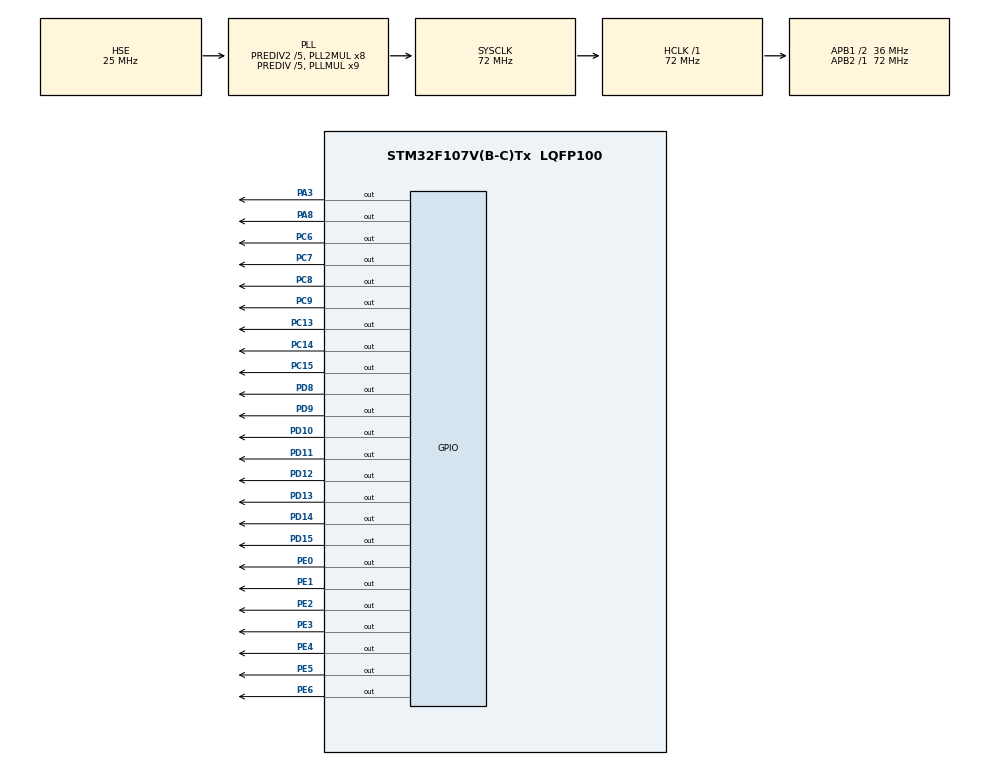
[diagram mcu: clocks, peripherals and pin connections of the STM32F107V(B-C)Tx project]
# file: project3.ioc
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Mcu.Family=STM32F1
Mcu.Name=STM32F107V(B-C)Tx
Mcu.Package=LQFP100
NVIC.PriorityGroup=NVIC_PRIORITYGROUP_4
NVIC.TIM3_IRQn=true\:0\:0\:false\:false\:true\:true\:true\:true
OSC_IN.Mode=HSE-External-Oscillator
OSC_IN.Signal=RCC_OSC_IN
OSC_OUT.Mode=HSE-External-Oscillator
OSC_OUT.Signal=RCC_OSC_OUT
PA13.Mode=Serial_Wire
PA13.Signal=SYS_JTMS-SWDIO
PA14.Mode=Serial_Wire
PA14.Signal=SYS_JTCK-SWCLK
PA3.Signal=GPIO_Output
PA8.Signal=GPIO_Output
PC13-TAMPER-RTC.Signal=GPIO_Output
PC14-OSC32_IN.Signal=GPIO_Output
PC15-OSC32_OUT.Signal=GPIO_Output
PC6.Signal=GPIO_Output
PC7.Signal=GPIO_Output
PC8.Signal=GPIO_Output
PC9.Signal=GPIO_Output
PD10.Signal=GPIO_Output
PD11.Signal=GPIO_Output
PD12.Signal=GPIO_Output
PD13.Signal=GPIO_Output
PD14.Signal=GPIO_Output
PD15.Signal=GPIO_Output
PD8.Signal=GPIO_Output
PD9.Signal=GPIO_Output
PE0.Signal=GPIO_Output
PE1.Signal=GPIO_Output
PE2.Signal=GPIO_Output
PE3.Signal=GPIO_Output
PE4.Signal=GPIO_Output
PE5.Signal=GPIO_Output
PE6.Signal=GPIO_Output
ProjectManager.HeapSize=0x200
ProjectManager.StackSize=0x400
ProjectManager.TargetToolchain=TrueSTUDIO
RCC.AHBFreq_Value=72000000
RCC.APB1CLKDivider=RCC_HCLK_DIV2
RCC.APB1Freq_Value=36000000
RCC.APB1TimFreq_Value=72000000
RCC.APB2Freq_Value=72000000
RCC.APB2TimFreq_Value=72000000
RCC.HCLKFreq_Value=72000000
RCC.HSEDivPLL=RCC_HSE_PREDIV_DIV5
RCC.HSE_VALUE=25000000
RCC.PLLMUL=RCC_PLL_MUL9
RCC.PLLSourceVirtual=RCC_PLLSOURCE_HSE
RCC.Prediv1Source=RCC_PREDIV1_SOURCE_PLL2
RCC.Prediv2=RCC_HSE_PREDIV2_DIV5
RCC.SYSCLKFreq_VALUE=72000000
RCC.SYSCLKSource=RCC_SYSCLKSOURCE_PLLCLK
RCC.USBFreq_Value=48000000
TIM3.Period=999
TIM3.Prescaler=71
VP_TIM3_VS_ClockSourceINT.Mode=Internal
board=custom

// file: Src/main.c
/* USER CODE BEGIN Header */
/**
  ******************************************************************************
  * @file           : main.c
  * @brief          : Main program body
  ******************************************************************************
  * @attention
  *
  * Copyright (c) 2023 STMicroelectronics.
  * All rights reserved.
  *
  * This software is licensed under terms that can be found in the LICENSE file
  * in the root directory of this software component.
  * If no LICENSE file comes with this software, it is provided AS-IS.
  *
  ******************************************************************************
  */
/* USER CODE END Header */
#include "main.h"

 TIM_HandleTypeDef htim3;

void SystemClock_Config(void);
static void MX_GPIO_Init(void);
static void MX_TIM3_Init(void);
/* USER CODE BEGIN PFP */

static int count=0;
unsigned int databus[3][7] ={{0x7F00, 0x7600, 0x7100, 0x0700, 0x0000, 0x0000, 0x0000},
		{0x0600, 0x5B00, 0x4F00, 0x6600, 0x0000, 0x0000, 0x0000},
		{0x6D00, 0x7D00, 0x0700, 0x7F00, 0x0000, 0x0000, 0x0000}};
unsigned int sel[12] = {0x00, 0x01, 0x02, 0x03, 0x04, 0x05, 0x06, 0x07, 0x08, 0x09, 0x0A, 0x0B};
volatile signed int sec_counter=0;

void TIM3_IRQHandler(void)
{
  /* USER CODE BEGIN TIM3_IRQn 0 */

  /* USER CODE END TIM3_IRQn 0 */

	HAL_TIM_IRQHandler(&htim3);

	sec_counter++;
  /* USER CODE BEGIN TIM3_IRQn 1 */

	HAL_GPIO_WritePin(GPIOA, GPIO_PIN_8, 1); //SEL4
	HAL_GPIO_WritePin(GPIOC, GPIO_PIN_9,1); //SEL3
	HAL_GPIO_WritePin(GPIOE, GPIO_PIN_4,1); //SEL2
	HAL_GPIO_WritePin(GPIOE, GPIO_PIN_5,1); //SEL1

	if (count<4)
	{

		GPIOD->ODR = databus[0][count];

		HAL_GPIO_WritePin(GPIOA, GPIO_PIN_8, (sel[count] >>3) &1); //SEL4
		HAL_GPIO_WritePin(GPIOC, GPIO_PIN_9, (sel[count] >>2) &1); //SEL3
		HAL_GPIO_WritePin(GPIOE, GPIO_PIN_4, (sel[count] >>1) &1);//SEL2
		HAL_GPIO_WritePin(GPIOE, GPIO_PIN_5, sel[count] &1); //SEL1

		count++;
	}

	else if (count>=4 && count<8)
	{

		GPIOD->ODR = databus[1][count-4];

		HAL_GPIO_WritePin(GPIOA, GPIO_PIN_8, (sel[count] >>3) &1); //SEL4
		HAL_GPIO_WritePin(GPIOC, GPIO_PIN_9, (sel[count] >>2) &1); //SEL3
		HAL_GPIO_WritePin(GPIOE, GPIO_PIN_4, (sel[count] >>1) &1);//SEL2
		HAL_GPIO_WritePin(GPIOE, GPIO_PIN_5, sel[count] &1); //SEL1

		count++;
	}

	else if (count>=8 && count<12)
	{

		GPIOD->ODR = databus[2][count-8];

		HAL_GPIO_WritePin(GPIOA, GPIO_PIN_8, (sel[count] >>3) &1); //SEL4
		HAL_GPIO_WritePin(GPIOC, GPIO_PIN_9, (sel[count] >>2) &1); //SEL3
		HAL_GPIO_WritePin(GPIOE, GPIO_PIN_4, (sel[count] >>1) &1);//SEL2
		HAL_GPIO_WritePin(GPIOE, GPIO_PIN_5, sel[count] &1); //SEL1

		count++;
	}

	if(count==12){
		count = 0;
	}

  /* USER CODE END TIM3_IRQn 1 */
}
/* USER CODE END PFP */

int main(void)
{

  /* MCU Configuration--------------------------------------------------------*/

  /* Reset of all peripherals, Initializes the Flash interface and the Systick. */
  HAL_Init();

  /* Configure the system clock */
  SystemClock_Config();

  /* Initialize all configured peripherals */
  MX_GPIO_Init();
  MX_TIM3_Init();
  /* USER CODE BEGIN 2 */
  HAL_TIM_Base_Start_IT(&htim3);
  /* USER CODE END 2 */

  /* Infinite loop */
  /* USER CODE BEGIN WHILE */
  sec_counter=0;

  while (1)
  {

	  if(sec_counter>=1000)
	  {
		  sec_counter=0;
		  unsigned int first0 = databus[0][0];
		  unsigned int first1 = databus[1][0];
		  unsigned int first2 = databus[2][0];
		  for(int j = 0; j < 7; j++)
			{
				databus[0][j] = databus[0][j+1];
				databus[1][j] = databus[1][j+1];
				databus[2][j] = databus[2][j+1];
			}

			databus[0][6] = first0; databus[1][6] = first1 ; databus[2][6] = first2;
		}

    /* USER CODE END WHILE */

  }
}

void SystemClock_Config(void)
{
  RCC_OscInitTypeDef RCC_OscInitStruct = {0};
  RCC_ClkInitTypeDef RCC_ClkInitStruct = {0};

  /** Initializes the RCC Oscillators according to the specified parameters
  * in the RCC_OscInitTypeDef structure.
  */
  RCC_OscInitStruct.OscillatorType = RCC_OSCILLATORTYPE_HSE;
  RCC_OscInitStruct.HSEState = RCC_HSE_ON;
  RCC_OscInitStruct.HSEPredivValue = RCC_HSE_PREDIV_DIV5;
  RCC_OscInitStruct.HSIState = RCC_HSI_ON;
  RCC_OscInitStruct.Prediv1Source = RCC_PREDIV1_SOURCE_PLL2;
  RCC_OscInitStruct.PLL.PLLState = RCC_PLL_ON;
  RCC_OscInitStruct.PLL.PLLSource = RCC_PLLSOURCE_HSE;
  RCC_OscInitStruct.PLL.PLLMUL = RCC_PLL_MUL9;
  RCC_OscInitStruct.PLL2.PLL2State = RCC_PLL2_ON;
  RCC_OscInitStruct.PLL2.PLL2MUL = RCC_PLL2_MUL8;
  RCC_OscInitStruct.PLL2.HSEPrediv2Value = RCC_HSE_PREDIV2_DIV5;
  if (HAL_RCC_OscConfig(&RCC_OscInitStruct) != HAL_OK)
  {
    Error_Handler();
  }

  /** Initializes the CPU, AHB and APB buses clocks
  */
  RCC_ClkInitStruct.ClockType = RCC_CLOCKTYPE_HCLK|RCC_CLOCKTYPE_SYSCLK
                              |RCC_CLOCKTYPE_PCLK1|RCC_CLOCKTYPE_PCLK2;
  RCC_ClkInitStruct.SYSCLKSource = RCC_SYSCLKSOURCE_PLLCLK;
  RCC_ClkInitStruct.AHBCLKDivider = RCC_SYSCLK_DIV1;
  RCC_ClkInitStruct.APB1CLKDivider = RCC_HCLK_DIV2;
  RCC_ClkInitStruct.APB2CLKDivider = RCC_HCLK_DIV1;

  if (HAL_RCC_ClockConfig(&RCC_ClkInitStruct, FLASH_LATENCY_2) != HAL_OK)
  {
    Error_Handler();
  }

  /** Configure the Systick interrupt time
  */
  __HAL_RCC_PLLI2S_ENABLE();
}

static void MX_TIM3_Init(void)
{

  TIM_ClockConfigTypeDef sClockSourceConfig = {0};
  TIM_MasterConfigTypeDef sMasterConfig = {0};

  htim3.Instance = TIM3;
  htim3.Init.Prescaler = 71;
  htim3.Init.CounterMode = TIM_COUNTERMODE_UP;
  htim3.Init.Period = 999;
  htim3.Init.ClockDivision = TIM_CLOCKDIVISION_DIV1;
  htim3.Init.AutoReloadPreload = TIM_AUTORELOAD_PRELOAD_DISABLE;
  if (HAL_TIM_Base_Init(&htim3) != HAL_OK)
  {
    Error_Handler();
  }
  sClockSourceConfig.ClockSource = TIM_CLOCKSOURCE_INTERNAL;
  if (HAL_TIM_ConfigClockSource(&htim3, &sClockSourceConfig) != HAL_OK)
  {
    Error_Handler();
  }
  sMasterConfig.MasterOutputTrigger = TIM_TRGO_RESET;
  sMasterConfig.MasterSlaveMode = TIM_MASTERSLAVEMODE_DISABLE;
  if (HAL_TIMEx_MasterConfigSynchronization(&htim3, &sMasterConfig) != HAL_OK)
  {
    Error_Handler();
  }

}

static void MX_GPIO_Init(void)
{
  GPIO_InitTypeDef GPIO_InitStruct = {0};

  /* GPIO Ports Clock Enable */
  __HAL_RCC_GPIOE_CLK_ENABLE();
  __HAL_RCC_GPIOC_CLK_ENABLE();
  __HAL_RCC_GPIOA_CLK_ENABLE();
  __HAL_RCC_GPIOD_CLK_ENABLE();

  /*Configure GPIO pin Output Level */
  HAL_GPIO_WritePin(GPIOE, GPIO_PIN_2|GPIO_PIN_3|GPIO_PIN_4|GPIO_PIN_5
                          |GPIO_PIN_6|GPIO_PIN_0|GPIO_PIN_1, GPIO_PIN_RESET);

  /*Configure GPIO pin Output Level */
  HAL_GPIO_WritePin(GPIOC, GPIO_PIN_13|GPIO_PIN_14|GPIO_PIN_15|GPIO_PIN_6
                          |GPIO_PIN_7|GPIO_PIN_8|GPIO_PIN_9, GPIO_PIN_RESET);

  /*Configure GPIO pin Output Level */
  HAL_GPIO_WritePin(GPIOA, GPIO_PIN_3|GPIO_PIN_8, GPIO_PIN_RESET);

  /*Configure GPIO pin Output Level */
  HAL_GPIO_WritePin(GPIOD, GPIO_PIN_8|GPIO_PIN_9|GPIO_PIN_10|GPIO_PIN_11
                          |GPIO_PIN_12|GPIO_PIN_13|GPIO_PIN_14|GPIO_PIN_15, GPIO_PIN_RESET);

  /*Configure GPIO pins : PE2 PE3 PE4 PE5
                           PE6 PE0 PE1 */
  GPIO_InitStruct.Pin = GPIO_PIN_2|GPIO_PIN_3|GPIO_PIN_4|GPIO_PIN_5
                          |GPIO_PIN_6|GPIO_PIN_0|GPIO_PIN_1;
  GPIO_InitStruct.Mode = GPIO_MODE_OUTPUT_PP;
  GPIO_InitStruct.Pull = GPIO_NOPULL;
  GPIO_InitStruct.Speed = GPIO_SPEED_FREQ_LOW;
  HAL_GPIO_Init(GPIOE, &GPIO_InitStruct);

  /*Configure GPIO pins : PC13 PC14 PC15 PC6
                           PC7 PC8 PC9 */
  GPIO_InitStruct.Pin = GPIO_PIN_13|GPIO_PIN_14|GPIO_PIN_15|GPIO_PIN_6
                          |GPIO_PIN_7|GPIO_PIN_8|GPIO_PIN_9;
  GPIO_InitStruct.Mode = GPIO_MODE_OUTPUT_PP;
  GPIO_InitStruct.Pull = GPIO_NOPULL;
  GPIO_InitStruct.Speed = GPIO_SPEED_FREQ_LOW;
  HAL_GPIO_Init(GPIOC, &GPIO_InitStruct);

  /*Configure GPIO pins : PA3 PA8 */
  GPIO_InitStruct.Pin = GPIO_PIN_3|GPIO_PIN_8;
  GPIO_InitStruct.Mode = GPIO_MODE_OUTPUT_PP;
  GPIO_InitStruct.Pull = GPIO_NOPULL;
  GPIO_InitStruct.Speed = GPIO_SPEED_FREQ_LOW;
  HAL_GPIO_Init(GPIOA, &GPIO_InitStruct);

  /*Configure GPIO pins : PD8 PD9 PD10 PD11
                           PD12 PD13 PD14 PD15 */
  GPIO_InitStruct.Pin = GPIO_PIN_8|GPIO_PIN_9|GPIO_PIN_10|GPIO_PIN_11
                          |GPIO_PIN_12|GPIO_PIN_13|GPIO_PIN_14|GPIO_PIN_15;
  GPIO_InitStruct.Mode = GPIO_MODE_OUTPUT_PP;
  GPIO_InitStruct.Pull = GPIO_NOPULL;
  GPIO_InitStruct.Speed = GPIO_SPEED_FREQ_LOW;
  HAL_GPIO_Init(GPIOD, &GPIO_InitStruct);

}

void Error_Handler(void)
{
  __disable_irq();
  while (1)
  {
  }
}
